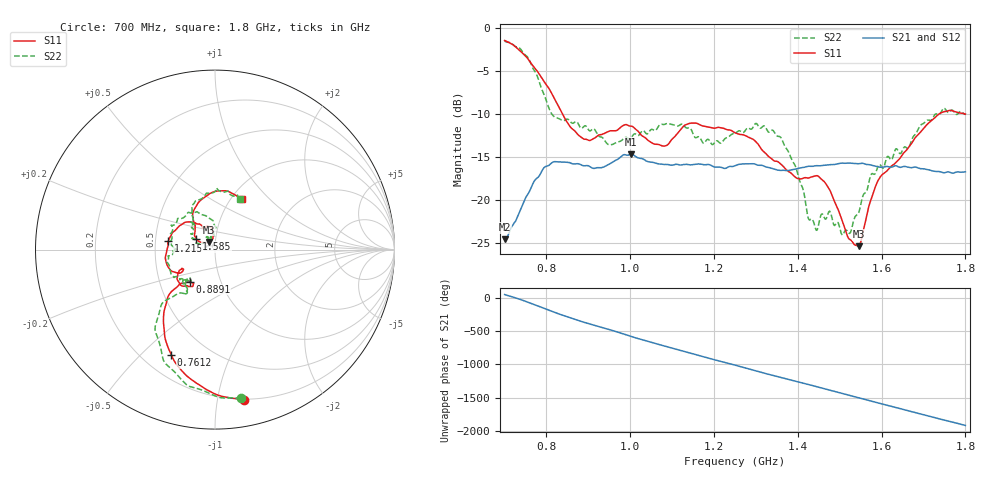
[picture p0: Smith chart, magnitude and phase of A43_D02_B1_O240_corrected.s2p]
! Created with skrf 1.9.0 (http://scikit-rf.org).
# Hz S RI R 50.0
!freq ReS11 ImS11 ReS21 ImS21 ReS12 ImS12 ReS22 ImS22
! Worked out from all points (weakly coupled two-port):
!   1601 points, 700 MHz to 1.8 GHz, reference 50 ohm
!   highest |S21| = -14.66 dB at 1.002 GHz (marker M1); lowest = -24.6 dB at 701.4 MHz (marker M2)
!   lowest |S11| = -25.3 dB at 1.545 GHz (marker M3), VSWR 1.11, Z = 46.5 + j3.91 ohm
!   |S11| at or under -10 dB: 838.6 MHz to 1.736 GHz (897.3 MHz wide, 69.7 % of centre)
!   |S22| runs from -24.1 to -1.5 dB; largest |S21 - S12| = 0.0035
!   S11 on the Smith chart (normalised r, x): 700 MHz: 0.20, -1.19; 761.2 MHz: 0.32, -0.62; 889.1 MHz: 0.71, -0.27; 1.215 GHz: 0.58, +0.06; 1.585 GHz: 0.81, +0.10; 1.8 GHz: 1.12, +0.70
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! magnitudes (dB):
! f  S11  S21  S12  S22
! 700 MHz  -1.4  -24.6  -24.4  -1.5
! 701.4 MHz  -1.4  -24.6  -24.2  -1.5
! 761.2 MHz  -3.9  -18.8  -18.7  -3.9
! 814.8 MHz  -7.8  -15.6  -15.6  -10.1
! 883.6 MHz  -12.7  -15.9  -15.8  -11.6
! 889.1 MHz  -12.9  -16.0  -15.9  -11.4
! 950.2 MHz  -12.0  -15.8  -15.8  -13.6
! 1.002 GHz  -11.4  -14.7  -14.8  -12.7
! 1.067 GHz  -13.5  -15.8  -15.7  -11.4
! 1.14 GHz  -11.1  -15.9  -15.8  -11.6
! 1.215 GHz  -11.6  -16.2  -16.1  -13.4
! 1.25 GHz  -12.2  -16.0  -15.9  -12.2
! 1.3 GHz  -13.2  -15.8  -15.8  -11.1
! 1.359 GHz  -15.8  -16.5  -16.5  -12.7
! 1.434 GHz  -17.3  -16.1  -16.0  -22.2
! 1.472 GHz  -18.5  -15.9  -15.9  -21.6
! 1.522 GHz  -24.5  -15.7  -15.7  -23.8
! 1.545 GHz  -25.3  -15.8  -15.7  -21.5
! 1.585 GHz  -18.5  -16.0  -16.0  -16.9
! 1.617 GHz  -16.4  -16.1  -16.1  -15.0
! 1.737 GHz  -10.0  -16.7  -16.7  -10.0
! 1.8 GHz  -10.0  -16.7  -16.7  -10.0
